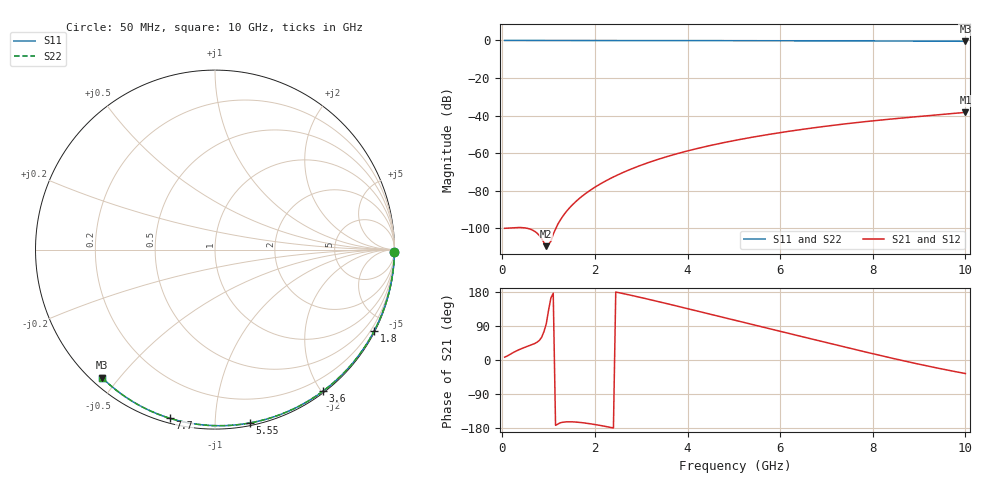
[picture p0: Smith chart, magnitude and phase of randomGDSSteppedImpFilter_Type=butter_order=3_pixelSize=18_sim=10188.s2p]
! freq	dB(S11)	phase(S11)	dB(S12)	phase(S12)
!  dB(S21)	phase(S21)	dB(S22)	phase(S22)
!S-par simulation data
#  GHz  S  DB  R 50
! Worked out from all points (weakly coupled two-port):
!   200 points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, 50 MHz to 10 GHz, reference 50 ohm
!   highest |S21| = -38.31 dB at 10 GHz (marker M1); lowest = -109.6 dB at 950 MHz (marker M2)
!   lowest |S11| = -0.4 dB at 10 GHz (marker M3), VSWR 40.09, Z = 1.5 - j22.6 ohm
!   |S11| at or under -10 dB: nowhere
!   |S22| runs from -0.4 to 0.0 dB; largest |S21 - S12| = 0
!   S11 on the Smith chart (normalised r, x): 50 MHz: open; 1.8 GHz: 0.04, -4.18; 3.6 GHz: 0.02, -2.02; 5.55 GHz: 0.02, -1.22; 7.7 GHz: 0.02, -0.77; 10 GHz: 0.03, -0.45
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0.05  -0.00 -0.8  -100.05 7.5  -100.05 7.5  -0.00 -0.8
0.5  -0.01 -7.6  -99.86 34.0  -99.86 34.0  -0.01 -7.6
0.95  -0.02 -14.3  -109.56 95.6  -109.56 95.6  -0.02 -14.3
1.75  -0.03 -26.2  -82.43 -165.8  -82.43 -165.8  -0.03 -26.2
1.8  -0.03 -26.9  -81.50 -166.6  -81.50 -166.6  -0.03 -26.9
1.9  -0.04 -28.4  -79.76 -168.3  -79.76 -168.3  -0.04 -28.4
2.05  -0.04 -30.6  -77.38 -171.3  -77.38 -171.3  -0.04 -30.6
2.25  -0.04 -33.5  -74.58 -175.7  -74.58 -175.7  -0.04 -33.5
2.65  -0.05 -39.3  -69.85 174.2  -69.85 174.2  -0.05 -39.3
3  -0.06 -44.3  -66.40 164.7  -66.40 164.7  -0.06 -44.3
3.4  -0.07 -49.9  -63.03 153.3  -63.03 153.3  -0.07 -49.9
3.6  -0.07 -52.7  -61.53 147.4  -61.53 147.4  -0.07 -52.7
3.9  -0.08 -56.8  -59.47 138.5  -59.47 138.5  -0.08 -56.8
4.3  -0.09 -62.2  -57.01 126.5  -57.01 126.5  -0.09 -62.2
5.05  -0.11 -72.2  -53.11 104.1  -53.11 104.1  -0.11 -72.2
5.55  -0.13 -78.7  -50.88 89.1  -50.88 89.1  -0.13 -78.7
6.1  -0.15 -85.6  -48.71 72.7  -48.71 72.7  -0.15 -85.6
6.7  -0.18 -93.0  -46.60 54.9  -46.60 54.9  -0.18 -93.1
7.7  -0.24 -105.0  -43.60 25.3  -43.60 25.3  -0.24 -105.0
8.35  -0.29 -112.6  -41.96 6.6  -41.96 6.6  -0.29 -112.6
9.15  -0.35 -121.8  -40.16 -15.0  -40.16 -15.0  -0.35 -121.8
10  -0.43 -131.4  -38.31 -35.7  -38.31 -35.7  -0.43 -131.4
